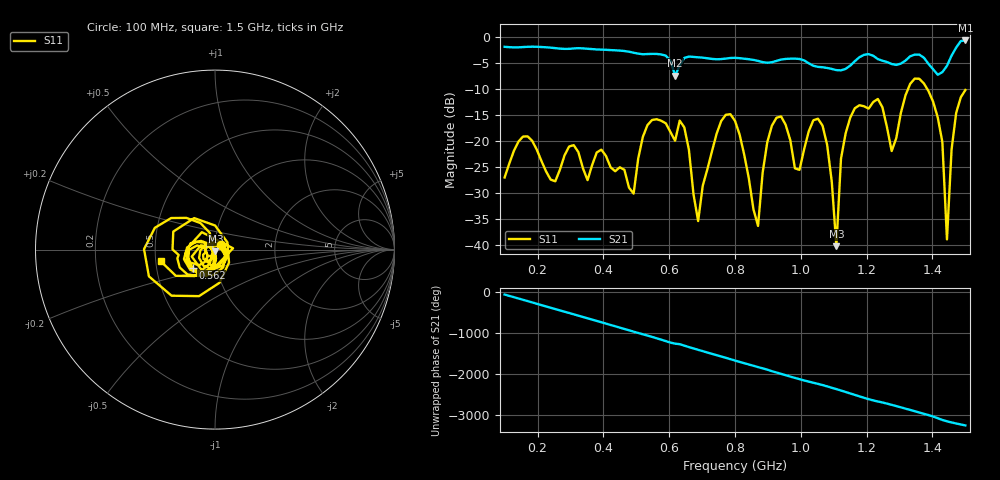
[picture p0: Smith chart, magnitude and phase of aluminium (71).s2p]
! NanoVNA-App
! Date: 2025-09-25 14:55:49
! Start: 100MHz Stop: 1,5GHz Points: 101
! S-Parameter data: F S11 S21 S12 S22
# Hz S RI R 50
!  Frequency  S11_Real  S11_Imag  S21_Real  S21_Imag  S12_Real  S12_Imag  S22_Real  S22_Imag
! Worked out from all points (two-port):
!   101 points, 100 MHz to 1.5 GHz, reference 50 ohm
!   highest |S21| = -0.70 dB at 1.5 GHz (marker M1); lowest = -7.4 dB at 618 MHz (marker M2)
!   |S21| within 3 dB of the highest: start of sweep to 591.1 MHz; 1.457 GHz to end of sweep (the widest 2 of 4)
!   lowest |S11| = -40.2 dB at 1.108 GHz (marker M3), VSWR 1.02, Z = 50.3 - j0.946 ohm
!   |S11| at or under -10 dB: start of sweep to 1.326 GHz; 1.384 GHz to end of sweep
!   S12 and S22 are empty: the file has one direction only
!   S11 on the Smith chart (normalised r, x): 100 MHz: 1.07, +0.06; 562 MHz: 0.76, -0.16; 1.5 GHz: 0.53, -0.08
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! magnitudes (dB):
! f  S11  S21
! 100 MHz  -27.0  -1.9
! 338 MHz  -25.2  -2.2
! 492 MHz  -30.1  -3.1
! 562 MHz  -15.8  -3.3
! 576 MHz  -16.1  -3.4
! 618 MHz  -19.9  -7.4
! 688 MHz  -35.4  -3.9
! 800 MHz  -16.1  -4.0
! 870 MHz  -36.3  -4.6
! 912 MHz  -17.1  -4.9
! 996 MHz  -25.5  -4.3
! 1.038 GHz  -16.0  -5.6
! 1.08 GHz  -20.8  -6.0
! 1.108 GHz  -40.2  -6.4
! 1.122 GHz  -23.4  -6.4
! 1.164 GHz  -13.7  -4.7
! 1.276 GHz  -21.9  -5.2
! 1.374 GHz  -9.0  -4.0
! 1.43 GHz  -20.2  -6.8
! 1.444 GHz  -38.9  -5.6
! 1.458 GHz  -21.6  -3.6
! 1.5 GHz  -10.2  -0.7
